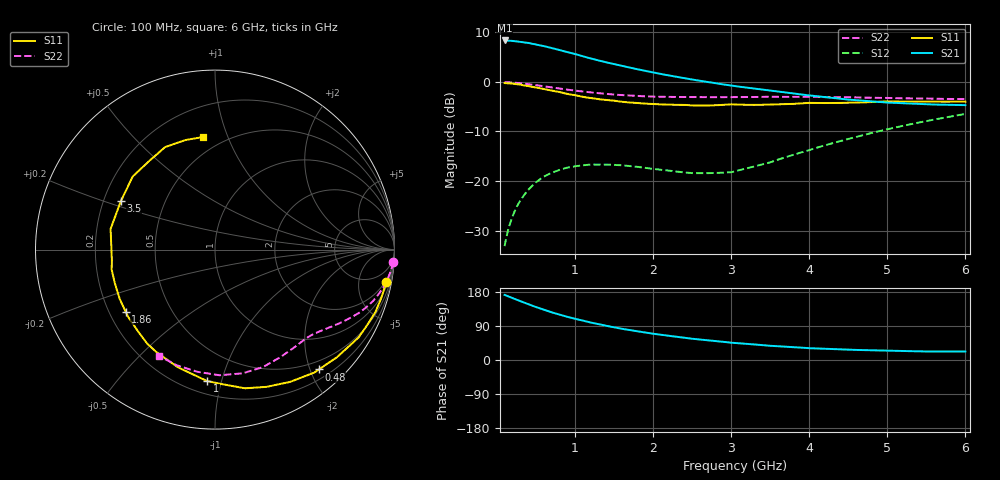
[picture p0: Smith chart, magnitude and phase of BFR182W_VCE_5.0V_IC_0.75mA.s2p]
! Infineon Technologies  Discrete & RF Semiconductors
! BFR182W
! VCE =  5.0 V,  IC = 0.75 mA
! Common Emitter S-Parameters:  Nov 2015
# GHz  S  MA  R  50
!  f  S11  S21  S12  S22
! GHz  MAG  ANG  MAG  ANG  MAG  ANG  MAG  ANG
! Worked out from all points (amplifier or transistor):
!   192 points, 100 MHz to 6 GHz, reference 50 ohm
!   highest |S21| = 8.3 dB at 100 MHz (marker M1)
!   |S21| within 3 dB of that: start of sweep to 1.06 GHz
!   unconditionally stable (mu >= 1): 2.279 GHz to 3.403 GHz
!   at 440 MHz: K = 0.18, MSG = 14.4 dB, |S12| = -21.2 dB
!   at 1.7 GHz: K = 0.73, MSG = 9.9 dB, |S12| = -17.0 dB
!   at 6 GHz: K = 0.84, MSG = 0.9 dB, |S12| = -6.5 dB
!   S11 on the Smith chart (normalised r, x): 100 MHz: 2, -10; 480 MHz: 0.35, -2.14; 1 GHz: 0.28, -0.90; 1.86 GHz: 0.27, -0.29; 3.5 GHz: 0.27, +0.22; 6 GHz: 0.39, +0.82
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0.1  0.9713 -10.7  2.608 171.8  0.0221 83.2  0.9928 -4.0
0.16  0.9635 -17.1  2.591 166.7  0.0354 79.5  0.9884 -6.3
0.24  0.9484 -25.3  2.561 160.2  0.052 74.6  0.9773 -9.3
0.4  0.9061 -41.5  2.466 147.3  0.0814 65.2  0.947 -14.9
0.48  0.8835 -49.1  2.394 141.4  0.0938 60.5  0.9297 -17.4
0.6  0.8476 -60.4  2.291 132.8  0.1106 54.8  0.9019 -20.9
0.7  0.8169 -69.4  2.192 125.9  0.1212 50.3  0.8791 -23.4
0.8  0.7906 -77.8  2.097 119.7  0.1296 46.3  0.8557 -25.7
0.9  0.7558 -85.6  1.993 113.9  0.1365 42.6  0.8349 -27.7
1  0.7338 -93.4  1.907 108.7  0.1412 39.5  0.8153 -29.7
1.1  0.7056 -100.2  1.807 104.1  0.1438 36.7  0.7985 -31.3
1.2  0.6879 -107.4  1.721 98.9  0.1468 34.0  0.7823 -33.0
1.42  0.6543 -121.2  1.559 89.4  0.1466 30.0  0.7525 -36.3
1.6  0.6297 -131.7  1.448 82.3  0.1443 28.0  0.7349 -38.7
1.86  0.6059 -145.3  1.309 73.9  0.1372 27.2  0.7158 -42.1
2.08  0.5929 -155.8  1.208 67.2  0.1306 28.4  0.707 -45.2
2.5  0.578 -173.5  1.054 56.1  0.1204 35.6  0.7016 -50.9
3.1  0.5887 165.7  0.894 44.2  0.1284 55.1  0.7011 -60.7
3.5  0.5898 152.9  0.815 37.5  0.1543 66.0  0.7071 -67.8
4.1  0.6115 136.0  0.715 30.4  0.217 72.0  0.7033 -79.5
5.1  0.6328 113.8  0.613 24.0  0.3461 68.2  0.6844 -100.1
6  0.6309 96.0  0.582 22.5  0.4745 58.9  0.6699 -117.8
